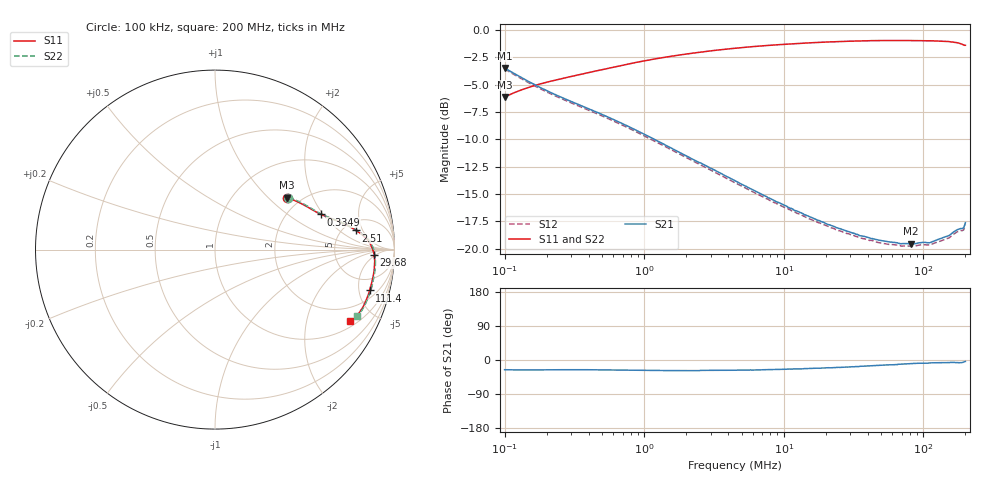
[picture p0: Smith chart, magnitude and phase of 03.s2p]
#  HZ  S  RI  R  50.00
! Rohde & Schwarz Vector Network Analyzer
! Rohde-Schwarz,ZNLE6-2Port,1323001256200024,1.71.1.10-23.02.1.238
! Created: UTC 4/8/2025, 6:26:02 AM
! freq[Hz]  re:S11  im:S11  re:S21  im:S21  re:S12  im:S12  re:S22  im:S22
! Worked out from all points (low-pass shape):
!   1001 points, 100 kHz to 200 MHz, reference 50 ohm
!   highest |S21| = -3.49 dB at 100 kHz (marker M1); lowest = -19.6 dB at 80.95 MHz (marker M2)
!   |S21| within 3 dB of the highest: start of sweep to 292.2 kHz
!   lowest |S11| = -6.1 dB at 100 kHz (marker M3), VSWR 2.94, Z = 85.3 + j65 ohm
!   |S11| at or under -10 dB: nowhere
!   |S22| runs from -6.0 to -0.9 dB; largest |S21 - S12| = 0.009
!   S11 on the Smith chart (normalised r, x): 100 kHz: 1.71, +1.30; 334.9 kHz: 2.97, +1.90; 2.51 MHz: 6.43, +3.66; 29.68 MHz: 16, -4; 111.4 MHz: 2.89, -6.42; 200 MHz: 1.25, -3.60
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100000  0.3996 0.2887  0.6035 -0.2891  0.5947 -0.2909  0.4083 0.2902
134505.5  0.4634 0.2648  0.5393 -0.2656  0.5306 -0.2662  0.4721 0.2653
171543.1  0.5058 0.2429  0.4968 -0.2438  0.4888 -0.2438  0.5138 0.2428
230734.9  0.547 0.2189  0.4554 -0.22  0.4479 -0.2195  0.5546 0.2183
334860.4  0.5902 0.1961  0.4121 -0.1972  0.405 -0.1963  0.5973 0.1952
355854.1  0.5969 0.193  0.4055 -0.1942  0.3984 -0.1933  0.6039 0.1921
673842.7  0.6655 0.1665  0.3368 -0.1689  0.3306 -0.1676  0.6715 0.1652
1266322  0.7279 0.1398  0.2734 -0.1441  0.268 -0.1426  0.7331 0.1385
2509786  0.7834 0.1068  0.2195 -0.1139  0.2118 -0.1176  0.7875 0.1095
4472136  0.8197 0.0824  0.1822 -0.0927  0.1769 -0.0935  0.8235 0.0839
8796434  0.8531 0.0485  0.1491 -0.0687  0.1443 -0.0725  0.8555 0.0519
1.591428e7  0.873 0.0169  0.1283 -0.0525  0.1245 -0.0531  0.876 0.0205
2.968052e7  0.8868 -0.0287  0.1131 -0.0376  0.1103 -0.0373  0.8897 -0.0227
4.577519e7  0.8894 -0.0741  0.1066 -0.028  0.1034 -0.0286  0.8937 -0.0641
5.663162e7  0.8879 -0.1027  0.1048 -0.0237  0.1014 -0.0256  0.8933 -0.0896
8.094824e7  0.8785 -0.1608  0.1038 -0.0177  0.1008 -0.0199  0.8867 -0.1433
1.113911e8  0.8618 -0.2278  0.1055 -0.0144  0.1027 -0.0163  0.8742 -0.2057
1.498273e8  0.8262 -0.3164  0.1135 -0.0139  0.1105 -0.0151  0.8462 -0.2824
1.692027e8  0.8005 -0.3563  0.1197 -0.014  0.1167 -0.0158  0.8292 -0.3204
1.83958e8  0.7751 -0.3847  0.1225 -0.0154  0.1196 -0.0172  0.8116 -0.3476
1.896369e8  0.7637 -0.3925  0.1227 -0.0144  0.1198 -0.0162  0.8033 -0.3563
2e8  0.7501 -0.3996  0.1311 -0.009  0.1285 -0.0106  0.7931 -0.369
